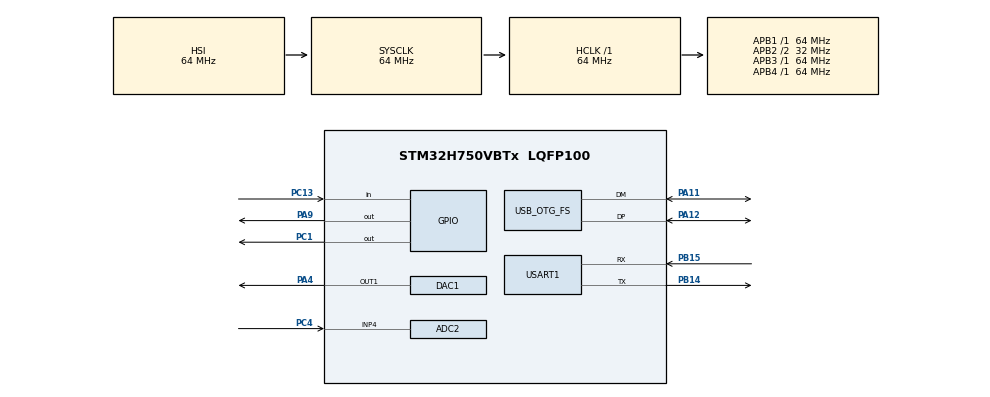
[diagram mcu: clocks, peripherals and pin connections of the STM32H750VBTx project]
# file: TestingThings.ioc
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ADC2.Channel-0\#ChannelRegularConversion=ADC_CHANNEL_4
ADC2.ConversionDataManagement=ADC_CONVERSIONDATA_DMA_CIRCULAR
ADC2.ExternalTrigConv=ADC_EXTERNALTRIG_T3_TRGO
ADC2.ExternalTrigConvEdge=ADC_EXTERNALTRIGCONVEDGE_FALLING
ADC2.NbrOfConversionFlag=1
ADC2.OffsetNumber-0\#ChannelRegularConversion=ADC_OFFSET_NONE
ADC2.OffsetSignedSaturation-0\#ChannelRegularConversion=DISABLE
ADC2.Overrun=ADC_OVR_DATA_OVERWRITTEN
ADC2.Rank-0\#ChannelRegularConversion=1
ADC2.SamplingTime-0\#ChannelRegularConversion=ADC_SAMPLETIME_16CYCLES_5
CORTEX_M7.default_mode_Activation=1
DAC1.DAC_Channel-DAC_OUT1=DAC_CHANNEL_1
Dma.ADC2.0.Direction=DMA_PERIPH_TO_MEMORY
Dma.ADC2.0.EventEnable=DISABLE
Dma.ADC2.0.FIFOMode=DMA_FIFOMODE_DISABLE
Dma.ADC2.0.Instance=DMA1_Stream0
Dma.ADC2.0.MemDataAlignment=DMA_MDATAALIGN_HALFWORD
Dma.ADC2.0.MemInc=DMA_MINC_ENABLE
Dma.ADC2.0.Mode=DMA_CIRCULAR
Dma.ADC2.0.PeriphDataAlignment=DMA_PDATAALIGN_HALFWORD
Dma.ADC2.0.PeriphInc=DMA_PINC_DISABLE
Dma.ADC2.0.Polarity=HAL_DMAMUX_REQ_GEN_RISING
Dma.ADC2.0.Priority=DMA_PRIORITY_LOW
Dma.ADC2.0.RequestNumber=1
Dma.ADC2.0.SignalID=NONE
Dma.ADC2.0.SyncEnable=DISABLE
Dma.ADC2.0.SyncPolarity=HAL_DMAMUX_SYNC_NO_EVENT
Dma.ADC2.0.SyncRequestNumber=1
Dma.ADC2.0.SyncSignalID=NONE
Dma.Request0=ADC2
FREERTOS.Tasks01=blink01,24,128,StartBlink01,Default,NULL,Dynamic,NULL,NULL;blink02,16,128,StartBlink02,Default,NULL,Dynamic,NULL,NULL;mic,27,256,handleMicInput,Default,NULL,Dynamic,NULL,NULL
FREERTOS.configUSE_NEWLIB_REENTRANT=1
Mcu.Family=STM32H7
Mcu.Name=STM32H750VBTx
Mcu.Package=LQFP100
NVIC.ADC_IRQn=true\:5\:0\:false\:false\:true\:true\:true\:true\:true
NVIC.DMA1_Stream0_IRQn=true\:5\:0\:true\:false\:true\:true\:false\:true\:true
NVIC.OTG_FS_IRQn=true\:5\:0\:false\:false\:true\:true\:false\:true\:true
NVIC.PriorityGroup=NVIC_PRIORITYGROUP_4
NVIC.TIM6_DAC_IRQn=true\:5\:0\:false\:false\:true\:true\:false\:true\:true
NVIC.TimeBase=TIM6_DAC_IRQn
NVIC.TimeBaseIP=TIM6
PA11.Mode=Device_Only
PA11.Signal=USB_OTG_FS_DM
PA12.Mode=Device_Only
PA12.Signal=USB_OTG_FS_DP
PA4.Signal=COMP_DAC11_group
PA9.Signal=GPIO_Output
PB14.Mode=Asynchronous
PB14.Signal=USART1_TX
PB15.Mode=Asynchronous
PB15.Signal=USART1_RX
PC1.Signal=GPIO_Output
PC13.Signal=GPIO_Input
PC4.Signal=ADCx_INP4
PH0-OSC_IN\ (PH0).Mode=HSE-External-Oscillator
PH0-OSC_IN\ (PH0).Signal=RCC_OSC_IN
PH1-OSC_OUT\ (PH1).Mode=HSE-External-Oscillator
PH1-OSC_OUT\ (PH1).Signal=RCC_OSC_OUT
ProjectManager.HeapSize=0x200
ProjectManager.StackSize=0x400
ProjectManager.TargetToolchain=STM32CubeIDE
RCC.ADCFreq_Value=75000000
RCC.APB1Freq_Value=64000000
RCC.APB2Freq_Value=32000000
RCC.APB3Freq_Value=64000000
RCC.APB4Freq_Value=64000000
RCC.CortexFreq_Value=64000000
RCC.D2PPRE2=RCC_APB2_DIV2
RCC.DIVM2=4
RCC.DIVN2=9
RCC.HCLKFreq_Value=64000000
RCC.PLL2FRACN=3072
RCC.SYSCLKFreq_VALUE=64000000
RCC.USBCLockSelection=RCC_USBCLKSOURCE_HSI48
RCC.USBFreq_Value=48000000
SH.ADCx_INP4.0=ADC2_INP4,IN4-Single-Ended
SH.COMP_DAC11_group.0=DAC1_OUT1,DAC_OUT1
STMicroelectronics.I-CUBE-STDIO.1.5.0.STDIOCcCompilerJjIOoOJjSTDIN=USBDIiCDCIiFS
STMicroelectronics.I-CUBE-STDIO.1.5.0.STDIOCcCompilerJjIOoOJjSTDOUT=USBDIiCDCIiFS
TIM3.Period=639
TIM3.TIM_MasterOutputTrigger=TIM_TRGO_UPDATE
USART1.VirtualMode-Asynchronous=VM_ASYNC
USB_DEVICE.CLASS_NAME_FS=CDC
USB_DEVICE.VirtualMode-CDC_FS=Cdc
USB_DEVICE.VirtualModeFS=Cdc_FS
USB_OTG_FS.VirtualMode=Device_Only
VP_FREERTOS_VS_CMSIS_V2.Mode=CMSIS_V2
VP_MEMORYMAP_VS_MEMORYMAP.Mode=CurAppReg
VP_STMicroelectronics.I-CUBE-STDIO_VS_CompilerJjSTDIO_1.0.0_1.5.0.Mode=CompilerJjSTDIO
VP_SYS_VS_tim6.Mode=TIM6
VP_TIM3_VS_ClockSourceINT.Mode=Internal
VP_USB_DEVICE_VS_USB_DEVICE_CDC_FS.Mode=CDC_FS
board=custom

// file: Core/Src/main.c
/* USER CODE BEGIN Header */
/**
  ******************************************************************************
  * @file           : main.c
  * @brief          : Main program body
  ******************************************************************************
  * @attention
  *
  * Copyright (c) 2026 STMicroelectronics.
  * All rights reserved.
  *
  * This software is licensed under terms that can be found in the LICENSE file
  * in the root directory of this software component.
  * If no LICENSE file comes with this software, it is provided AS-IS.
  *
  ******************************************************************************
  */
/* USER CODE END Header */
#include "main.h"
#include "FreeRTOS.h"
#include "cmsis_os2.h"
#include "usb_device.h"

/* USER CODE BEGIN Includes */
#include <math.h>
#include <stdbool.h>

/* USER CODE END Includes */

/* USER CODE BEGIN PD */
#define MIC_BUFFER_LENGTH 8192
#define SAMPLING_FREQUENCY 100000

/* USER CODE END PD */

ADC_HandleTypeDef hadc2;
DMA_HandleTypeDef hdma_adc2;

DAC_HandleTypeDef hdac1;

TIM_HandleTypeDef htim3;

UART_HandleTypeDef huart1;

/* Definitions for blink01 */
osThreadId_t blink01Handle;
const osThreadAttr_t blink01_attributes = {
  .name = "blink01",
  .stack_size = 128 * 4,
  .priority = (osPriority_t) osPriorityNormal,
};
/* Definitions for blink02 */
osThreadId_t blink02Handle;
const osThreadAttr_t blink02_attributes = {
  .name = "blink02",
  .stack_size = 128 * 4,
  .priority = (osPriority_t) osPriorityBelowNormal,
};
/* Definitions for mic */
osThreadId_t micHandle;
const osThreadAttr_t mic_attributes = {
  .name = "mic",
  .stack_size = 256 * 4,
  .priority = (osPriority_t) osPriorityNormal3,
};
/* USER CODE BEGIN PV */
volatile uint16_t value_adc[MIC_BUFFER_LENGTH];
volatile int state;
volatile int last_state;

volatile unsigned int DATA = 0;
volatile unsigned int MASK = 0;

volatile double MAGNITUDE[8] = {0, 0, 0, 0, 0, 0, 0, 0};
volatile double PHASE[8] = {0, 0, 0, 0, 0, 0, 0, 0};

// Configurable frequencies with corresponding cos and sin values calculated at initialization
// These should ideally be fourier frequencies --> 	Since N/2 = 4096, we have
// multiplies of df = 2pi/4096 ~ 1.534 mHz and should be normalized
static const double frequencies[8] = {220, 540, 780, 1190, 1592, 2240, 3194, 5523};
static double COS_VAL[8];
static double SIN_VAL[8];

static double MAGNITUDE_THRESHOLD = 1000.0f;

/* USER CODE END PV */

void SystemClock_Config(void);
static void MPU_Config(void);
static void MX_GPIO_Init(void);
static void MX_DMA_Init(void);
static void MX_USART1_UART_Init(void);
static void MX_ADC2_Init(void);
static void MX_TIM3_Init(void);
static void MX_DAC1_Init(void);
void StartBlink01(void *argument);
void StartBlink02(void *argument);
void handleMicInput(void *argument);

/* USER CODE BEGIN 0 */
#define HALF_CONVERT 0x0
#define FULL_CONVERT 0x1

void HAL_ADC_ConvHalfCpltCallback(ADC_HandleTypeDef* hadc) {
	state = HALF_CONVERT;
}

void HAL_ADC_ConvCpltCallback(ADC_HandleTypeDef* hadc) {
	state = FULL_CONVERT;
}

double avg = 0;
uint16_t max = 0;

/* USER CODE END 0 */

int main(void)
{

  /* MPU Configuration--------------------------------------------------------*/
  MPU_Config();

  /* MCU Configuration--------------------------------------------------------*/

  /* Reset of all peripherals, Initializes the Flash interface and the Systick. */
  HAL_Init();

  /* Configure the system clock */
  SystemClock_Config();

  /* Initialize all configured peripherals */
  MX_GPIO_Init();
  MX_DMA_Init();
  MX_USART1_UART_Init();
  MX_ADC2_Init();
  MX_TIM3_Init();
  MX_DAC1_Init();
  /* USER CODE BEGIN 2 */

  // THIS IS NEEDED TO FIX THE BUG WHEN IT IS CALLED IN DEFAULT TASK
  MX_USB_DEVICE_Init();

  HAL_DAC_Start(&hdac1, DAC_CHANNEL_1);
  /* USER CODE END 2 */

  /* Init scheduler */
  osKernelInitialize();

  /* Create the thread(s) */
  /* creation of blink01 */
  blink01Handle = osThreadNew(StartBlink01, NULL, &blink01_attributes);

  /* creation of blink02 */
  blink02Handle = osThreadNew(StartBlink02, NULL, &blink02_attributes);

  /* creation of mic */
  micHandle = osThreadNew(handleMicInput, NULL, &mic_attributes);

  /* Start scheduler */
  osKernelStart();

  /* We should never get here as control is now taken by the scheduler */

  /* Infinite loop */
  /* USER CODE BEGIN WHILE */
  while (1)
  {
	  	  // NOTES : BLUE LED IS PC1, ACTIVE LOW
//	  	 HAL_GPIO_WritePin(GPIOA,GPIO_PIN_9, 1);
//	  	 HAL_GPIO_WritePin(GPIOC,GPIO_PIN_1, 1);
//	 	 HAL_Delay(1000);
//	 	 HAL_GPIO_WritePin(GPIOA,GPIO_PIN_9, 0);
//	 	 HAL_GPIO_WritePin(GPIOC,GPIO_PIN_1, 0);
//	 	 HAL_Delay(1000);

//	 	 printf("HEY: %d\n",5);
//	 	sprintf(MSG, "heyyyyyyyyy\r\n");
//	 	HAL_UART_Transmit(&huart1, MSG, sizeof(MSG), 100);

    /* USER CODE END WHILE */

  }
}

void SystemClock_Config(void)
{
  RCC_OscInitTypeDef RCC_OscInitStruct = {0};
  RCC_ClkInitTypeDef RCC_ClkInitStruct = {0};

  /** Supply configuration update enable
  */
  HAL_PWREx_ConfigSupply(PWR_LDO_SUPPLY);

  /** Configure the main internal regulator output voltage
  */
  __HAL_PWR_VOLTAGESCALING_CONFIG(PWR_REGULATOR_VOLTAGE_SCALE3);

  while(!__HAL_PWR_GET_FLAG(PWR_FLAG_VOSRDY)) {}

  /** Macro to configure the PLL clock source
  */
  __HAL_RCC_PLL_PLLSOURCE_CONFIG(RCC_PLLSOURCE_HSI);

  /** Initializes the RCC Oscillators according to the specified parameters
  * in the RCC_OscInitTypeDef structure.
  */
  RCC_OscInitStruct.OscillatorType = RCC_OSCILLATORTYPE_HSI48|RCC_OSCILLATORTYPE_HSI;
  RCC_OscInitStruct.HSIState = RCC_HSI_DIV1;
  RCC_OscInitStruct.HSICalibrationValue = RCC_HSICALIBRATION_DEFAULT;
  RCC_OscInitStruct.HSI48State = RCC_HSI48_ON;
  RCC_OscInitStruct.PLL.PLLState = RCC_PLL_NONE;
  if (HAL_RCC_OscConfig(&RCC_OscInitStruct) != HAL_OK)
  {
    Error_Handler();
  }

  /** Initializes the CPU, AHB and APB buses clocks
  */
  RCC_ClkInitStruct.ClockType = RCC_CLOCKTYPE_HCLK|RCC_CLOCKTYPE_SYSCLK
                              |RCC_CLOCKTYPE_PCLK1|RCC_CLOCKTYPE_PCLK2
                              |RCC_CLOCKTYPE_D3PCLK1|RCC_CLOCKTYPE_D1PCLK1;
  RCC_ClkInitStruct.SYSCLKSource = RCC_SYSCLKSOURCE_HSI;
  RCC_ClkInitStruct.SYSCLKDivider = RCC_SYSCLK_DIV1;
  RCC_ClkInitStruct.AHBCLKDivider = RCC_HCLK_DIV1;
  RCC_ClkInitStruct.APB3CLKDivider = RCC_APB3_DIV1;
  RCC_ClkInitStruct.APB1CLKDivider = RCC_APB1_DIV1;
  RCC_ClkInitStruct.APB2CLKDivider = RCC_APB2_DIV2;
  RCC_ClkInitStruct.APB4CLKDivider = RCC_APB4_DIV1;

  if (HAL_RCC_ClockConfig(&RCC_ClkInitStruct, FLASH_LATENCY_1) != HAL_OK)
  {
    Error_Handler();
  }
}

static void MX_ADC2_Init(void)
{

  ADC_ChannelConfTypeDef sConfig = {0};

  /** Common config
  */
  hadc2.Instance = ADC2;
  hadc2.Init.ClockPrescaler = ADC_CLOCK_ASYNC_DIV2;
  hadc2.Init.Resolution = ADC_RESOLUTION_16B;
  hadc2.Init.ScanConvMode = ADC_SCAN_DISABLE;
  hadc2.Init.EOCSelection = ADC_EOC_SINGLE_CONV;
  hadc2.Init.LowPowerAutoWait = DISABLE;
  hadc2.Init.ContinuousConvMode = DISABLE;
  hadc2.Init.NbrOfConversion = 1;
  hadc2.Init.DiscontinuousConvMode = DISABLE;
  hadc2.Init.ExternalTrigConv = ADC_EXTERNALTRIG_T3_TRGO;
  hadc2.Init.ExternalTrigConvEdge = ADC_EXTERNALTRIGCONVEDGE_FALLING;
  hadc2.Init.ConversionDataManagement = ADC_CONVERSIONDATA_DMA_CIRCULAR;
  hadc2.Init.Overrun = ADC_OVR_DATA_OVERWRITTEN;
  hadc2.Init.LeftBitShift = ADC_LEFTBITSHIFT_NONE;
  hadc2.Init.OversamplingMode = DISABLE;
  hadc2.Init.Oversampling.Ratio = 1;
  if (HAL_ADC_Init(&hadc2) != HAL_OK)
  {
    Error_Handler();
  }

  /** Configure Regular Channel
  */
  sConfig.Channel = ADC_CHANNEL_4;
  sConfig.Rank = ADC_REGULAR_RANK_1;
  sConfig.SamplingTime = ADC_SAMPLETIME_16CYCLES_5;
  sConfig.SingleDiff = ADC_SINGLE_ENDED;
  sConfig.OffsetNumber = ADC_OFFSET_NONE;
  sConfig.Offset = 0;
  sConfig.OffsetSignedSaturation = DISABLE;
  if (HAL_ADC_ConfigChannel(&hadc2, &sConfig) != HAL_OK)
  {
    Error_Handler();
  }

}

static void MX_DAC1_Init(void)
{

  DAC_ChannelConfTypeDef sConfig = {0};

  /** DAC Initialization
  */
  hdac1.Instance = DAC1;
  if (HAL_DAC_Init(&hdac1) != HAL_OK)
  {
    Error_Handler();
  }

  /** DAC channel OUT1 config
  */
  sConfig.DAC_SampleAndHold = DAC_SAMPLEANDHOLD_DISABLE;
  sConfig.DAC_Trigger = DAC_TRIGGER_NONE;
  sConfig.DAC_OutputBuffer = DAC_OUTPUTBUFFER_ENABLE;
  sConfig.DAC_ConnectOnChipPeripheral = DAC_CHIPCONNECT_DISABLE;
  sConfig.DAC_UserTrimming = DAC_TRIMMING_FACTORY;
  if (HAL_DAC_ConfigChannel(&hdac1, &sConfig, DAC_CHANNEL_1) != HAL_OK)
  {
    Error_Handler();
  }

}

static void MX_TIM3_Init(void)
{

  TIM_ClockConfigTypeDef sClockSourceConfig = {0};
  TIM_MasterConfigTypeDef sMasterConfig = {0};

  htim3.Instance = TIM3;
  htim3.Init.Prescaler = 0;
  htim3.Init.CounterMode = TIM_COUNTERMODE_UP;
  htim3.Init.Period = 639;
  htim3.Init.ClockDivision = TIM_CLOCKDIVISION_DIV1;
  htim3.Init.AutoReloadPreload = TIM_AUTORELOAD_PRELOAD_DISABLE;
  if (HAL_TIM_Base_Init(&htim3) != HAL_OK)
  {
    Error_Handler();
  }
  sClockSourceConfig.ClockSource = TIM_CLOCKSOURCE_INTERNAL;
  if (HAL_TIM_ConfigClockSource(&htim3, &sClockSourceConfig) != HAL_OK)
  {
    Error_Handler();
  }
  sMasterConfig.MasterOutputTrigger = TIM_TRGO_UPDATE;
  sMasterConfig.MasterSlaveMode = TIM_MASTERSLAVEMODE_DISABLE;
  if (HAL_TIMEx_MasterConfigSynchronization(&htim3, &sMasterConfig) != HAL_OK)
  {
    Error_Handler();
  }

}

static void MX_USART1_UART_Init(void)
{

  huart1.Instance = USART1;
  huart1.Init.BaudRate = 115200;
  huart1.Init.WordLength = UART_WORDLENGTH_8B;
  huart1.Init.StopBits = UART_STOPBITS_1;
  huart1.Init.Parity = UART_PARITY_NONE;
  huart1.Init.Mode = UART_MODE_TX_RX;
  huart1.Init.HwFlowCtl = UART_HWCONTROL_NONE;
  huart1.Init.OverSampling = UART_OVERSAMPLING_16;
  huart1.Init.OneBitSampling = UART_ONE_BIT_SAMPLE_DISABLE;
  huart1.Init.ClockPrescaler = UART_PRESCALER_DIV1;
  huart1.AdvancedInit.AdvFeatureInit = UART_ADVFEATURE_NO_INIT;
  if (HAL_UART_Init(&huart1) != HAL_OK)
  {
    Error_Handler();
  }
  if (HAL_UARTEx_SetTxFifoThreshold(&huart1, UART_TXFIFO_THRESHOLD_1_8) != HAL_OK)
  {
    Error_Handler();
  }
  if (HAL_UARTEx_SetRxFifoThreshold(&huart1, UART_RXFIFO_THRESHOLD_1_8) != HAL_OK)
  {
    Error_Handler();
  }
  if (HAL_UARTEx_DisableFifoMode(&huart1) != HAL_OK)
  {
    Error_Handler();
  }

}

static void MX_DMA_Init(void)
{

  /* DMA controller clock enable */
  __HAL_RCC_DMA1_CLK_ENABLE();

  /* DMA interrupt init */
  /* DMA1_Stream0_IRQn interrupt configuration */
  HAL_NVIC_SetPriority(DMA1_Stream0_IRQn, 5, 0);
  HAL_NVIC_EnableIRQ(DMA1_Stream0_IRQn);

}

static void MX_GPIO_Init(void)
{
  GPIO_InitTypeDef GPIO_InitStruct = {0};

  /* GPIO Ports Clock Enable */
  __HAL_RCC_GPIOC_CLK_ENABLE();
  __HAL_RCC_GPIOH_CLK_ENABLE();
  __HAL_RCC_GPIOA_CLK_ENABLE();
  __HAL_RCC_GPIOB_CLK_ENABLE();

  /*Configure GPIO pin Output Level */
  HAL_GPIO_WritePin(GPIOC, GPIO_PIN_1, GPIO_PIN_RESET);

  /*Configure GPIO pin Output Level */
  HAL_GPIO_WritePin(GPIOA, GPIO_PIN_9, GPIO_PIN_RESET);

  /*Configure GPIO pin : PC13 */
  GPIO_InitStruct.Pin = GPIO_PIN_13;
  GPIO_InitStruct.Mode = GPIO_MODE_INPUT;
  GPIO_InitStruct.Pull = GPIO_NOPULL;
  HAL_GPIO_Init(GPIOC, &GPIO_InitStruct);

  /*Configure GPIO pin : PC1 */
  GPIO_InitStruct.Pin = GPIO_PIN_1;
  GPIO_InitStruct.Mode = GPIO_MODE_OUTPUT_PP;
  GPIO_InitStruct.Pull = GPIO_NOPULL;
  GPIO_InitStruct.Speed = GPIO_SPEED_FREQ_LOW;
  HAL_GPIO_Init(GPIOC, &GPIO_InitStruct);

  /*Configure GPIO pin : PA9 */
  GPIO_InitStruct.Pin = GPIO_PIN_9;
  GPIO_InitStruct.Mode = GPIO_MODE_OUTPUT_PP;
  GPIO_InitStruct.Pull = GPIO_NOPULL;
  GPIO_InitStruct.Speed = GPIO_SPEED_FREQ_LOW;
  HAL_GPIO_Init(GPIOA, &GPIO_InitStruct);

}

/* USER CODE BEGIN 4 */
// Calculate all cos, sin values beforehand to use for Goertzel
void init_frequencies(){
	double w = 0;
	for(int i = 0; i < sizeof(frequencies)/sizeof(frequencies[0]); i = i + 1){
		w = 2*M_PI*frequencies[i]/SAMPLING_FREQUENCY;
		COS_VAL[i] = cos(w);
		SIN_VAL[i] = sin(w);
	}

}

// The ADC is 16 bit resolution, and the input voltage is 3.3V max.
double map_voltage(uint16_t val){
	return ((float)val*3.3f) / (65535.0f);
}

/*
 * Simple implementation of the Goertzel Algorithm, which calculates
 * a singular DFT bin of a given sequence x.
 *
 * w = 2pi* k/N  --> Fourier frequency
 * 1st sequence: s[n] = x[n] + 2cos(w)x[n-1] - x[n-2]
 * 2nd: y[n] = s[n] - exp(-jw)s[n-1] --> y[N] is the DFT term of w
 *
 * updates complex magnitude and phase for the specified frequency.
*/

/*
 * analog(2*pi*f0*t) --> digital(2*pi*f0/fs * n) --> fourier(2 * pi * k/N)
 *
 *
 *
 * */

void goertzel(int i){
	double COS = COS_VAL[i];
    double SIN = SIN_VAL[i];

	double sprev2 = 0;
	double sprev = 0;
	double s = 0;

	double x = 0;

	for(int i = 0; i < MIC_BUFFER_LENGTH/2; i = i + 1) {
		x = (double) value_adc[i] - avg;
		s = x + (2 * COS * sprev) - sprev2;
		sprev2 = sprev;
		sprev = s;
	}

	double coeff_re = sprev - COS * sprev2;
    double coeff_im = SIN * sprev2;
    MAGNITUDE[i] = 2 * sqrt(coeff_re*coeff_re + coeff_im*coeff_im)/MIC_BUFFER_LENGTH;
    PHASE[i] = atan2(coeff_im, coeff_re);

//    printf("[%04f Hz: |%0.1f|, <%0.1f>]", frequencies[i], MAGNITUDE[i], PHASE[i]);
}

void extract_data(){
	DATA = 0;
	for(int i = 0; i < sizeof(frequencies)/sizeof(frequencies[0]); i = i + 1){
		// If this frequency has a certain presence, the ith bit becomes 1.
		if(MAGNITUDE[i] >= MAGNITUDE_THRESHOLD){
			MASK = 0x00000001 << i;
			DATA = DATA | MASK;
		}
	}
	printf("\n\r- %d -", DATA);
}

/* USER CODE END 4 */

void StartBlink01(void *argument)
{
  /* init code for USB_DEVICE */
  MX_USB_DEVICE_Init();
  /* USER CODE BEGIN 5 */

  /* Infinite loop */
  for(;;)
  {
	  osDelay(10);
  }
  /* USER CODE END 5 */
}

void StartBlink02(void *argument)
{
  /* USER CODE BEGIN StartBlink02 */

  /* Infinite loop */
  for(;;)
  {
	  osDelay(10);
  }
  /* USER CODE END StartBlink02 */
}

void handleMicInput(void *argument)
{
  /* USER CODE BEGIN handleMicInput */
	init_frequencies();

	HAL_ADC_Start_DMA(&hadc2,(uint32_t*)&value_adc,MIC_BUFFER_LENGTH);
	HAL_TIM_Base_Start(&htim3);
  /* Infinite loop */
  for(;;)
  {
	  // This only triggers on the transitions between half and full.
	  // Calculate average on the transition from FULL --> HALF (full conv is done)
	  // Calculate goertzel on the transition from HALF --> FULL (half conv is done)
	  if(last_state != state && state == FULL_CONVERT){

		  for(int i = 0; i < sizeof(frequencies)/sizeof(frequencies[0]); i = i + 1){
			  goertzel(i);
		  }

		  extract_data();

		  printf("\n\r");

	  } else if(last_state != state && state == HALF_CONVERT){
		  double sum = 0;
		  uint16_t max = 0;
		  for(int i = MIC_BUFFER_LENGTH/2; i < MIC_BUFFER_LENGTH; i = i + 1){
			  if(value_adc[i] >= max) max = value_adc[i];
			  sum += value_adc[i];
			  //printf("|%f|", map_voltage(value_adc[i]));
		  }

		  if(map_voltage(max) >= 3.05f){
			  HAL_GPIO_WritePin(GPIOC, GPIO_PIN_1, 0);
		  } else HAL_GPIO_WritePin(GPIOC, GPIO_PIN_1, 1);
		  avg = 2.0f * sum/MIC_BUFFER_LENGTH;

	  }

	  last_state = state;

    osDelay(10);
  }
  /* USER CODE END handleMicInput */
}

 /* MPU Configuration */

void MPU_Config(void)
{
  MPU_Region_InitTypeDef MPU_InitStruct = {0};

  /* Disables the MPU */
  HAL_MPU_Disable();

  /** Initializes and configures the Region and the memory to be protected
  */
  MPU_InitStruct.Enable = MPU_REGION_ENABLE;
  MPU_InitStruct.Number = MPU_REGION_NUMBER0;
  MPU_InitStruct.BaseAddress = 0x0;
  MPU_InitStruct.Size = MPU_REGION_SIZE_4GB;
  MPU_InitStruct.SubRegionDisable = 0x87;
  MPU_InitStruct.TypeExtField = MPU_TEX_LEVEL0;
  MPU_InitStruct.AccessPermission = MPU_REGION_NO_ACCESS;
  MPU_InitStruct.DisableExec = MPU_INSTRUCTION_ACCESS_DISABLE;
  MPU_InitStruct.IsShareable = MPU_ACCESS_SHAREABLE;
  MPU_InitStruct.IsCacheable = MPU_ACCESS_NOT_CACHEABLE;
  MPU_InitStruct.IsBufferable = MPU_ACCESS_NOT_BUFFERABLE;

  HAL_MPU_ConfigRegion(&MPU_InitStruct);
  /* Enables the MPU */
  HAL_MPU_Enable(MPU_PRIVILEGED_DEFAULT);

}

void HAL_TIM_PeriodElapsedCallback(TIM_HandleTypeDef *htim)
{
  if (htim->Instance == TIM6)
  {
    HAL_IncTick();
  }
}

void Error_Handler(void)
{
  __disable_irq();
  while (1)
  {
  }
}
